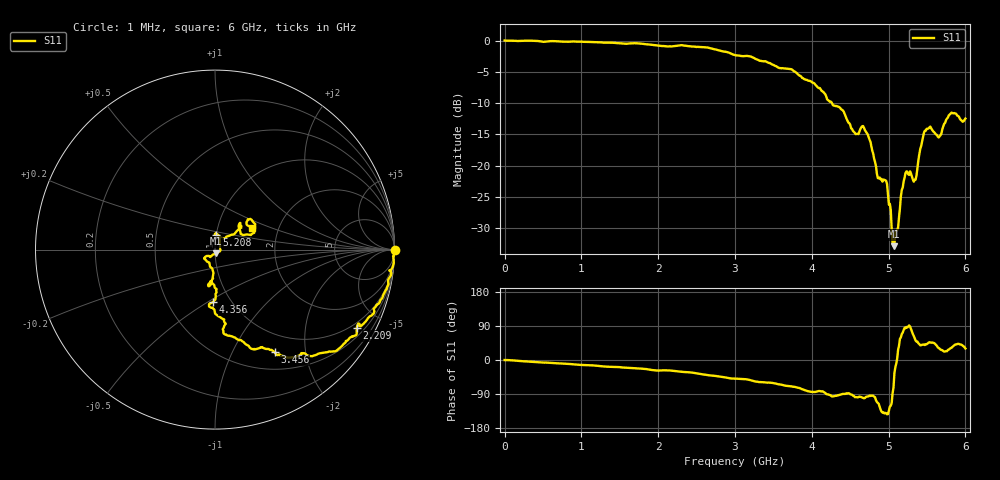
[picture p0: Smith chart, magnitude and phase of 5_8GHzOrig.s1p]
# Hz S RI R 50
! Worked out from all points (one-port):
!   501 points, 1 MHz to 6 GHz, reference 50 ohm
!   lowest |S11| = -32.9 dB at 5.064 GHz (marker M1), VSWR 1.05, Z = 50.6 - j2.19 ohm
!   |S11| at or under -10 dB: 4.263 GHz to end of sweep
!   S11 on the Smith chart (normalised r, x): 1 MHz: open; 2.209 GHz: 0.79, -3.72; 3.456 GHz: 0.73, -1.48; 4.356 GHz: 0.82, -0.53; 5.208 GHz: 1.00, +0.16; 6 GHz: 1.46, +0.37
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1000000  1.003 -0.00179
7.56874e8  0.9679 -0.1616
1.50075e9  0.9031 -0.3072
2.208632e9  0.7895 -0.4363
2.256624e9  0.7893 -0.4552
2.652558e9  0.6708 -0.5658
3.0005e9  0.5013 -0.5786
3.456424e9  0.3324 -0.5715
3.756374e9  0.1925 -0.5443
3.972338e9  0.0568 -0.4728
4.356274e9  -0.0124 -0.2936
4.50025e9  -0.00127 -0.2128
4.584236e9  -0.026 -0.177
4.668222e9  -0.0369 -0.2039
4.74021e9  -0.017 -0.1682
4.872188e9  -0.0344 -0.0712
4.968172e9  -0.058 -0.0484
5.004166e9  -0.0335 -0.0351
5.064156e9  0.00671 -0.0216
5.10015e9  0.0295 -0.0049
5.208132e9  0.0071 0.0797
5.256124e9  0.00236 0.0851
5.34011e9  0.0412 0.065
5.436094e9  0.1189 0.1004
5.496084e9  0.1471 0.1308
5.652058e9  0.143 0.0876
5.808032e9  0.2226 0.136
6e9  0.2049 0.1202
